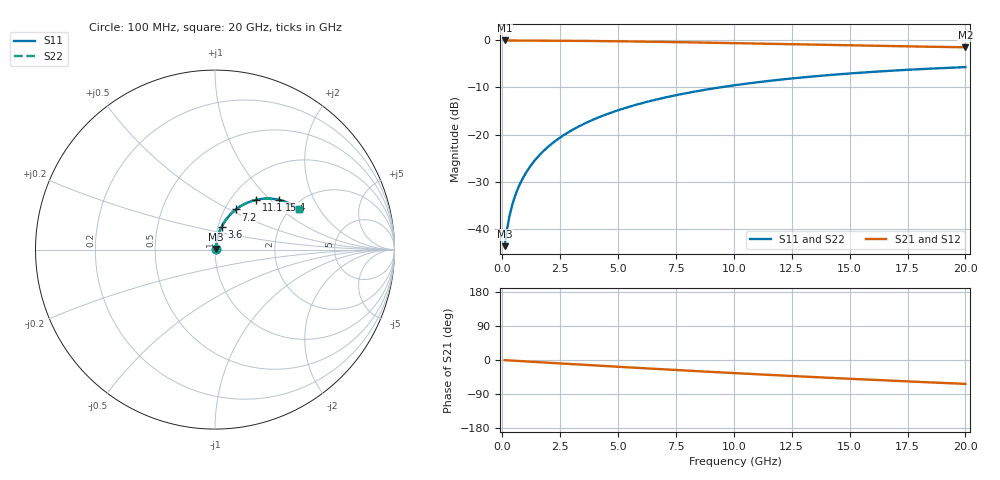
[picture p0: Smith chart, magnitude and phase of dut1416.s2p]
! Touchstone file exported from HFSS 2026.1.0
!  File:  C:/ffzhzh/LocalFiles/Ansys_Project_Files/temp_train_TMRDL_1416_1783166612_22436.aedt
!  Generated:  08:04:55 PM Jul  4, 2026
!  Design:  TMRDL
!  Project:  temp_train_TMRDL_1416_1783166612_22436
! Variables:
!  h_bsmrdl = 2um
!  h_ox = 20um
!  h_rdl = 5um
!  h_sub = 80um
!  h_tmrdl = 2.73um
!  h_tsv = 80um
!  h_via = 3um
!  l_bsmrdl = 300um
!  l_sub = 1380.8um
!  l_tmrdl = 980.8um
!  m_sub = 200um
!  pitch = 58.13um
!  r_tsv = 6um
!  s_tmrdl = 10um
!  w_bsmrdl = 18um
!  w_sub = 500um
!  w_tmrdl = 26.08um
!  x_tsv_center1 = 993.84um
!  x_tsv_center2 = 1311.84um
!  x_tsv_center3 = 2318.72um
!  x_tsv_center4 = 2636.72um
!  x_tsv_center5 = 3643.6um
!  x_tsv_center6 = 3961.6um
# GHz S MA R 50.000000
! Terminal data exported
! Port[1] = TM_RDL1_1_T1
! Port[2] = TM_RDL1_1_T2
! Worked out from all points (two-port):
!   200 points, 100 MHz to 20 GHz, reference 50 ohm
!   highest |S21| = -0.04 dB at 100 MHz (marker M1); lowest = -1.5 dB at 20 GHz (marker M2)
!   |S21| within 3 dB of the highest: start of sweep to end of sweep
!   lowest |S11| = -43.6 dB at 100 MHz (marker M3), VSWR 1.01, Z = 50.5 + j0.415 ohm
!   |S11| at or under -10 dB: start of sweep to 9.389 GHz
!   |S22| runs from -43.6 to -5.7 dB; largest |S21 - S12| = 2e-14
!   S11 on the Smith chart (normalised r, x): 100 MHz: 1.01, +0.01; 3.6 GHz: 1.04, +0.27; 7.2 GHz: 1.13, +0.54; 11.1 GHz: 1.30, +0.83; 15.4 GHz: 1.62, +1.13; 20 GHz: 2.19, +1.35
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0.1  0.006571 38.7  0.9949 -0.4  0.9949 -0.4  0.006571 38.7
! Gamma 0 0 0 0
! Port Impedance 50 0 50 0
0.2  0.00976 56.1  0.9946 -0.8  0.9946 -0.8  0.00976 56.1
0.3  0.01331 64.0  0.9943 -1.1  0.9943 -1.1  0.01331 64.0
0.4  0.01692 68.3  0.994 -1.5  0.994 -1.5  0.01692 68.3
0.5  0.02052 70.9  0.9937 -1.9  0.9937 -1.9  0.02052 70.9
0.6  0.02411 72.8  0.9935 -2.2  0.9935 -2.2  0.02411 72.8
0.8  0.03132 75.1  0.9931 -2.9  0.9931 -2.9  0.03132 75.1
1.1  0.0422 76.9  0.9925 -4.0  0.9925 -4.0  0.0422 76.9
1.6  0.06043 77.6  0.9913 -5.8  0.9913 -5.8  0.06043 77.6
2.1  0.07867 77.2  0.9899 -7.6  0.9899 -7.6  0.07867 77.2
2.7  0.1004 76.1  0.9877 -9.8  0.9877 -9.8  0.1004 76.1
3.5  0.1291 74.0  0.9841 -12.6  0.9841 -12.6  0.1291 74.0
3.6  0.1326 73.7  0.9836 -13.0  0.9836 -13.0  0.1326 73.7
5  0.1812 69.5  0.9752 -17.9  0.9752 -17.9  0.1812 69.5
6.8  0.24 63.8  0.9616 -24.1  0.9616 -24.1  0.24 63.7
7.2  0.2524 62.5  0.9582 -25.4  0.9582 -25.4  0.2524 62.5
10.1  0.3353 53.3  0.9314 -34.8  0.9314 -34.8  0.3353 53.3
11.1  0.3607 50.3  0.9216 -38.0  0.9216 -38.0  0.3607 50.3
13.4  0.4131 43.5  0.8989 -44.9  0.8989 -44.9  0.413 43.5
15.4  0.4518 37.9  0.8799 -50.7  0.8799 -50.7  0.4518 37.8
16.7  0.4738 34.3  0.8683 -54.3  0.8683 -54.3  0.4738 34.3
20  0.5191 25.7  0.8422 -63.1  0.8422 -63.1  0.5191 25.7
